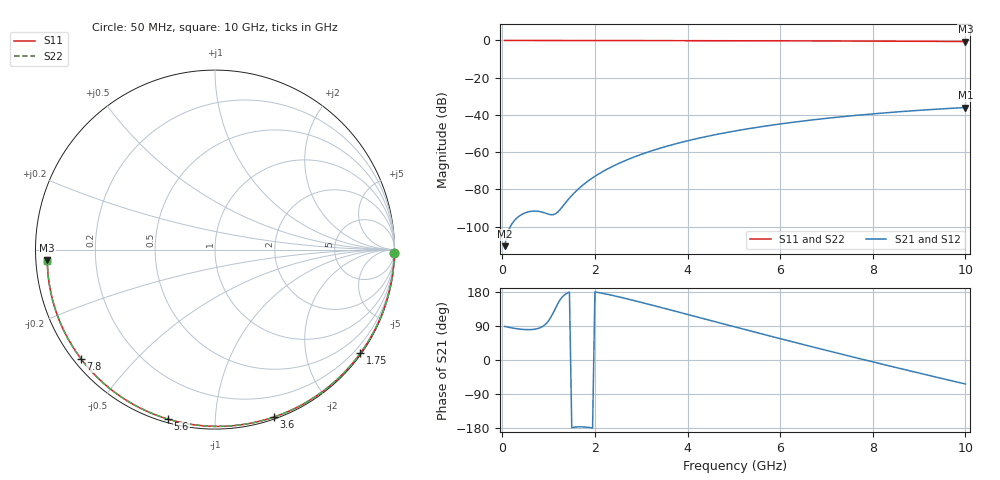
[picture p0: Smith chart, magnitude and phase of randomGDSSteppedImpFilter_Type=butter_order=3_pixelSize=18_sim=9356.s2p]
! freq	dB(S11)	phase(S11)	dB(S12)	phase(S12)
!  dB(S21)	phase(S21)	dB(S22)	phase(S22)
!S-par simulation data
#  GHz  S  DB  R 50
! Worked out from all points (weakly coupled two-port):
!   200 points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, 50 MHz to 10 GHz, reference 50 ohm
!   highest |S21| = -36.03 dB at 10 GHz (marker M1); lowest = -110.5 dB at 50 MHz (marker M2)
!   lowest |S11| = -0.6 dB at 10 GHz (marker M3), VSWR 30.46, Z = 1.64 - j1.61 ohm
!   |S11| at or under -10 dB: nowhere
!   |S22| runs from -0.6 to 0.0 dB; largest |S21 - S12| = 0
!   S11 on the Smith chart (normalised r, x): 50 MHz: open; 1.75 GHz: 0.03, -3.12; 3.6 GHz: 0.02, -1.41; 5.6 GHz: 0.02, -0.76; 7.8 GHz: 0.02, -0.36; 10 GHz: 0.03, -0.03
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0.05  -0.00 -1.0  -110.48 88.6  -110.48 88.6  -0.00 -1.0
0.4  -0.01 -8.3  -93.74 81.2  -93.74 81.2  -0.01 -8.3
0.8  -0.02 -16.4  -91.84 84.3  -91.84 84.3  -0.02 -16.4
1.6  -0.04 -32.5  -80.72 -176.7  -80.72 -176.7  -0.04 -32.5
1.65  -0.04 -33.5  -79.57 -176.4  -79.57 -176.4  -0.04 -33.5
1.75  -0.05 -35.5  -77.44 -176.6  -77.44 -176.6  -0.05 -35.5
1.9  -0.05 -38.5  -74.62 -178.5  -74.62 -178.5  -0.05 -38.4
2.05  -0.05 -41.4  -72.16 178.7  -72.16 178.7  -0.05 -41.4
2.25  -0.06 -45.3  -69.29 173.9  -69.29 173.9  -0.06 -45.2
2.45  -0.06 -49.2  -66.79 168.5  -66.79 168.5  -0.06 -49.1
2.9  -0.07 -57.7  -62.08 155.2  -62.08 155.2  -0.07 -57.7
3.4  -0.09 -67.0  -57.91 139.5  -57.91 139.5  -0.09 -67.0
3.6  -0.09 -70.7  -56.47 133.1  -56.47 133.1  -0.09 -70.6
4.3  -0.12 -83.2  -52.17 110.6  -52.17 110.6  -0.12 -83.1
5.05  -0.15 -96.2  -48.51 86.5  -48.51 86.5  -0.15 -96.1
5.6  -0.17 -105.4  -46.28 68.9  -46.28 68.9  -0.17 -105.3
6.15  -0.20 -114.5  -44.35 51.6  -44.35 51.6  -0.20 -114.3
6.7  -0.24 -123.3  -42.66 34.5  -42.66 34.5  -0.24 -123.2
7.8  -0.33 -140.8  -39.87 1.0  -39.87 1.0  -0.33 -140.7
8.35  -0.38 -149.5  -38.71 -15.4  -38.71 -15.4  -0.38 -149.4
9.2  -0.47 -163.1  -37.19 -40.3  -37.19 -40.3  -0.47 -162.9
10  -0.57 -176.3  -36.03 -63.4  -36.03 -63.4  -0.57 -176.1
